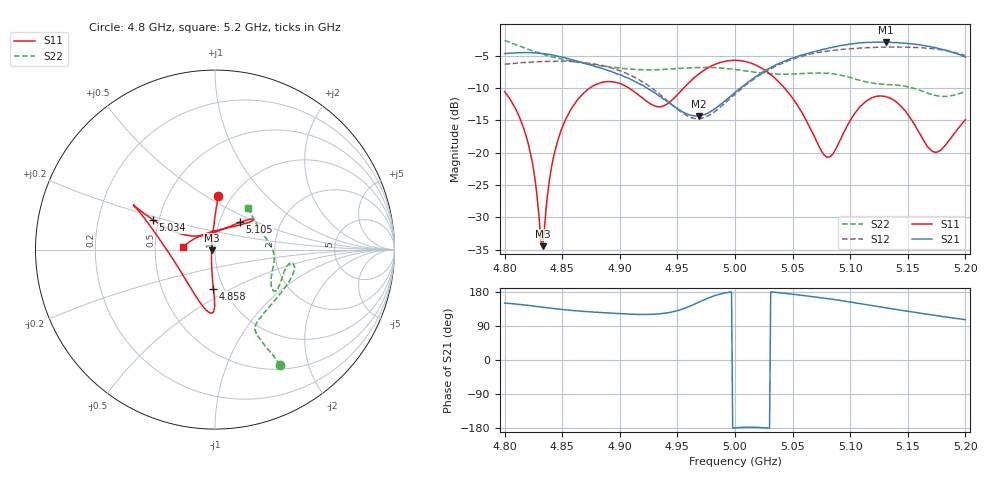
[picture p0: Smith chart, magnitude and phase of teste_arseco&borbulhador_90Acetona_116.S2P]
! Network Analyzer HP8722D
! Hewlett-Packard
! Data name: Linha & Wilkinson
! Saver's name: Rodrigo Anjos
! Comments: Teste da utilização de aquisição
! continua pelo VNA HP8722D
! Time and date: 17/4/2025 12:01
!  Frequency  S11  S21  S12  S22
# HZ  S  MA R 50
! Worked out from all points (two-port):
!   401 points, 4.8 GHz to 5.2 GHz, reference 50 ohm
!   highest |S21| = -2.90 dB at 5.131 GHz (marker M1); lowest = -14.3 dB at 4.969 GHz (marker M2)
!   |S21| within 3 dB of the highest: start of sweep to 4.864 GHz; 5.042 GHz to end of sweep
!   lowest |S11| = -34.5 dB at 4.833 GHz (marker M3), VSWR 1.04, Z = 48.2 - j0.303 ohm
!   |S11| at or under -10 dB: start of sweep to 4.874 GHz; 4.908 GHz to 4.955 GHz (47.75 MHz wide, 0.968 % of centre); 5.043 GHz to end of sweep
!   |S22| runs from -11.3 to -2.7 dB; largest |S21 - S12| = 1.3
!   S11 on the Smith chart (normalised r, x): 4.8 GHz: 0.87, +0.56; 4.858 GHz: 0.89, -0.41; 5.034 GHz: 0.47, +0.18; 5.105 GHz: 1.26, +0.40; 5.2 GHz: 0.70, +0.02
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4.8e9  0.2967 86.6  0.5835 150.1  0.4819 -111.6  0.7368 -60.3
4.811e9  0.2054 89.2  0.5924 147.1  0.4938 -111.3  0.6771 -61.0
4.82e9  0.1214 93.9  0.5932 144.4  0.4996 -110.8  0.6323 -62.0
4.825e9  0.0747 100.1  0.5922 142.6  0.5027 -110.5  0.61 -62.4
4.831e9  0.02366 137.2  0.586 140.2  0.5058 -109.9  0.5855 -62.9
4.833e9  0.01894 -170.5  0.5831 139.4  0.5063 -109.8  0.5778 -62.9
4.839e9  0.06207 -108.0  0.5731 137.2  0.5083 -109.5  0.558 -63.3
4.843e9  0.09695 -101.0  0.5648 135.6  0.5084 -109.4  0.5455 -63.4
4.858e9  0.2184 -92.3  0.5232 130.9  0.5081 -109.1  0.509 -63.7
4.867e9  0.2791 -90.5  0.4987 128.7  0.4993 -109.4  0.4935 -63.1
4.898e9  0.3466 -96.7  0.4055 122.8  0.4353 -112.8  0.4531 -55.3
4.934e9  0.2268 -147.9  0.2752 121.6  0.2872 -116.1  0.4381 -34.8
4.969e9  0.4084 157.8  0.192 153.3  0.1836 -82.7  0.4561 -16.8
5e9  0.5177 151.4  0.2912 -179.3  0.2834 -49.5  0.4392 -10.2
5.034e9  0.3819 154.3  0.4688 178.8  0.46 -44.0  0.4063 -15.8
5.067e9  0.1443 148.3  0.598 167.3  0.5833 -47.4  0.4116 -30.0
5.082e9  0.0927 100.5  0.6466 161.4  0.6133 -50.2  0.409 -34.3
5.105e9  0.2074 47.4  0.6981 150.5  0.6401 -55.3  0.3693 -32.1
5.131e9  0.2711 37.7  0.7162 137.6  0.6545 -63.1  0.3363 -14.7
5.134e9  0.2652 37.6  0.7127 136.3  0.6546 -64.3  0.336 -12.4
5.173e9  0.1011 102.3  0.6509 118.1  0.6341 -78.0  0.2788 20.6
5.2e9  0.1795 175.7  0.5474 106.4  0.564 -87.2  0.2957 50.9
